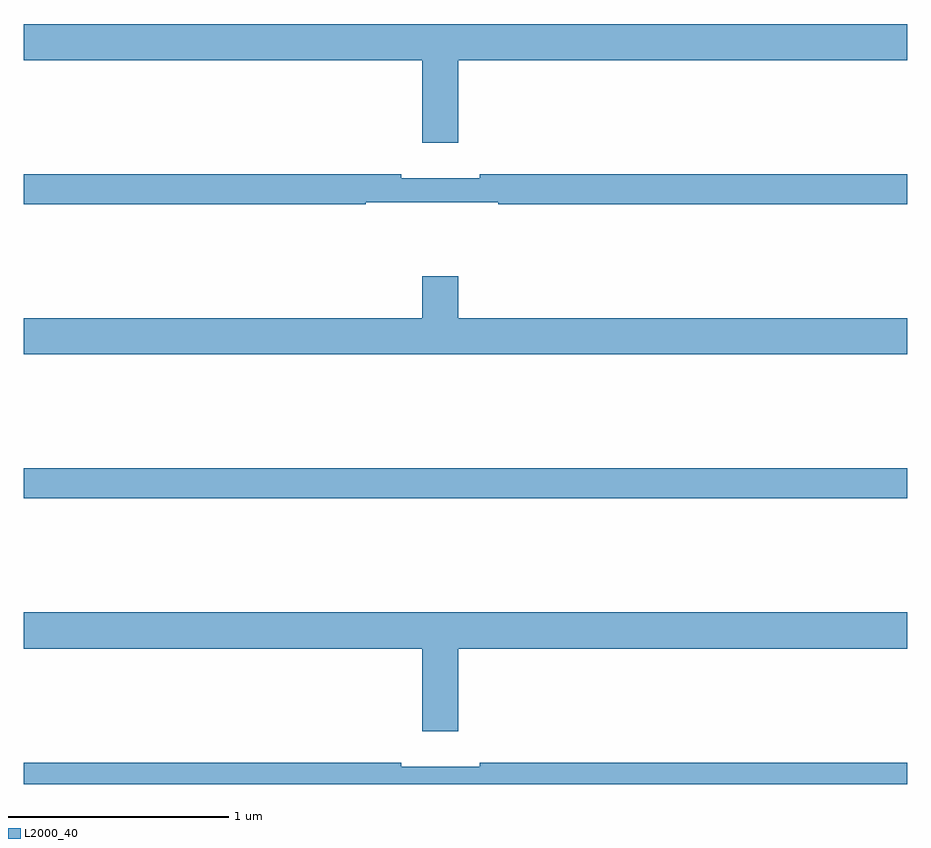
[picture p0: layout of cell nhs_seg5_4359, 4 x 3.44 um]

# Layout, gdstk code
import gdstk
lib = gdstk.Library(unit=1e-6, precision=1e-09)
def R(c, l, rs):  # rectangles x0, y0, x1, y1
    for r in rs: c.add(gdstk.rectangle(r[:2], r[2:], *l))
def P(c, l, *ps):  # polygons
    for p in ps: c.add(gdstk.Polygon(p, *l))
L2000_40 = (2000, 40)

nhs_seg5_4359 = lib.new_cell('nhs_seg5_4359')
R(nhs_seg5_4359, L2000_40, [(367,872.092,371,872.228)])
P(nhs_seg5_4359, L2000_40, [(368.968,874.076),(371,874.076),(371,874.24),(367,874.24),(367,874.076),(368.804,874.076),(368.804,873.702),(368.968,873.702)],
  [(368.548,873.432),(369.148,873.432),(369.148,873.424),(371,873.424),(371,873.56),(369.064,873.56),(369.064,873.541),(368.708,873.541),(368.708,873.56),(367,873.56),(367,873.424),(368.548,873.424)],
  [(371,872.908),(368.968,872.908),(368.968,873.097),(368.804,873.097),(368.804,872.908),(367,872.908),(367,872.744),(371,872.744)],
  [(368.968,871.412),(371,871.412),(371,871.576),(367,871.576),(367,871.412),(368.804,871.412),(368.804,871.038),(368.968,871.038)],
  [(371,870.896),(369.064,870.896),(369.064,870.877),(368.708,870.877),(368.708,870.896),(367,870.896),(367,870.799),(371,870.799)])

lib.write_gds('nhs_seg5_4359.gds')
